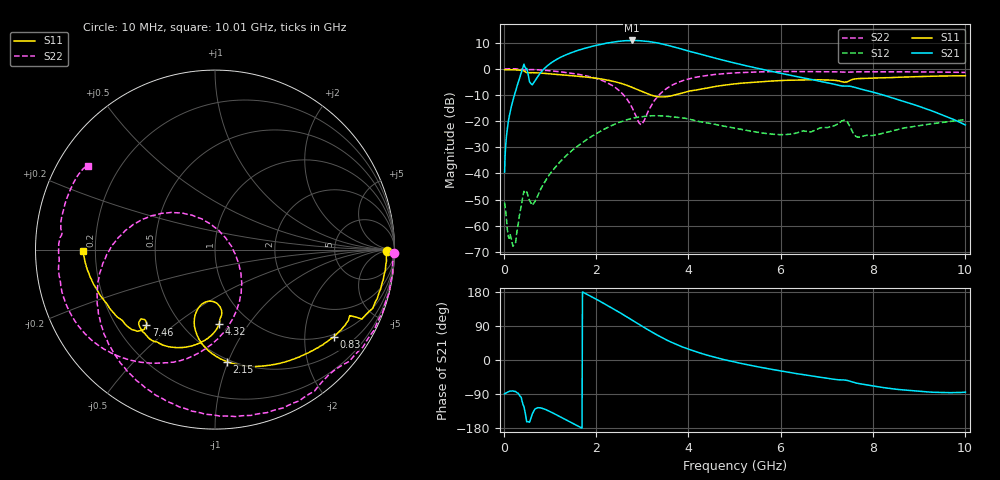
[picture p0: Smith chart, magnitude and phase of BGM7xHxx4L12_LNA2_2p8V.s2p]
! (c) 2014 Infineon Technologies AG
! BGM7xHxx4L12 - Silicon Germanium Quad-Band LTE LNA bank
! 20 May 2014
! Special Application Board
! C1 = L1 = 0 Ohm
! C2 = 100 nF
! Vcc = 2.8V
! RF input and output lines de-embedded
! Port 1 reference plane: LNA input AI (pin 9)
! Port 2 reference plane: LNA output AO (pin 6)
! Network Data:
! Measured BGM7xHxx4L12 device level s-parameters
# GHz S MA R 50
!Freq  MagS11  AngS11  MagS21  AngS21  MagS12  AngS12  MagS22  AngS22
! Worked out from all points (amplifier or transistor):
!   1001 points, 10 MHz to 10.01 GHz, reference 50 ohm
!   highest |S21| = 10.8 dB at 2.77 GHz (marker M1)
!   |S21| within 3 dB of that: 1.749 GHz to 3.796 GHz (2.047 GHz wide, 73.8 % of centre)
!   unconditionally stable (mu >= 1): start of sweep to 68.04 MHz; 72.72 MHz to 124.7 MHz; 134.6 MHz to end of sweep
!   at 1.67 GHz: K = 1.78, MAG = 12.9 dB, |S12| = -28.6 dB
!   at 5.01 GHz: K = 1.41, MAG = 8.6 dB, |S12| = -22.7 dB
!   at 10.01 GHz: K = 6.58, MAG = -12.2 dB, |S12| = -19.4 dB
!   lowest NFmin = 0.74 dB at 2.6 GHz
!   S11 on the Smith chart (normalised r, x): 10 MHz: 44, -7; 830 MHz: 0.94, -2.77; 2.15 GHz: 0.48, -0.99; 4.32 GHz: 0.73, -0.74; 7.46 GHz: 0.32, -0.40; 10.01 GHz: 0.15, -0.00
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0.01  0.9569 -0.4  0.01058 -89.2  0.002764 109.3  0.9947 -1.0
0.21  0.9496 -11.1  0.2871 -82.5  0.000424 -176.9  0.9924 -22.6
0.39  0.9246 -22.0  0.9359 -109.3  0.003012 179.9  0.961 -41.6
0.47  0.8585 -25.8  1.01 -148.5  0.004161 142.7  0.9431 -47.8
0.54  0.8367 -26.1  0.6349 -163.8  0.00327 121.4  0.9588 -53.9
0.65  0.8386 -29.4  0.5517 -133.3  0.002744 149.4  0.9588 -64.8
0.83  0.8196 -36.3  0.9217 -127.7  0.005768 171.4  0.9373 -81.3
1.24  0.763 -50.9  1.676 -151.4  0.01763 163.4  0.8673 -114.3
1.68  0.7068 -66.3  2.352 -179.2  0.03791 147.2  0.7618 -146.2
2.15  0.6271 -83.9  2.984 150.3  0.06839 126.3  0.5827 179.3
2.45  0.5506 -95.4  3.303 129.4  0.09073 110.7  0.4124 153.9
2.77  0.4437 -105.0  3.465 105.7  0.1123 92.0  0.1868 113.4
2.98  0.3705 -106.8  3.403 90.0  0.121 79.6  0.08571 29.6
3.35  0.2903 -97.6  3.071 64.0  0.1261 59.4  0.3077 -63.2
3.75  0.322 -84.8  2.515 40.4  0.1177 41.9  0.5351 -93.1
4.32  0.4158 -86.8  1.837 15.8  0.09503 26.2  0.725 -119.2
5.01  0.5131 -97.2  1.278 -5.7  0.07292 20.0  0.8317 -138.5
6.68  0.6162 -125.1  0.617 -42.5  0.06312 45.7  0.88 -171.9
7.46  0.5695 -132.3  0.4648 -54.4  0.09252 13.1  0.8579 173.7
7.67  0.6463 -137.6  0.4253 -61.6  0.04945 22.6  0.872 170.0
8.35  0.6744 -153.5  0.2907 -74.9  0.06232 53.4  0.8724 158.4
10.01  0.7332 -179.6  0.08412 -84.9  0.1071 54.5  0.8484 146.8
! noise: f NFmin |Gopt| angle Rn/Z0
2.3  0.7842  0.4607  83.92  0.1525
2.4  0.7603  0.38  80.17  0.1437
2.5  0.7816  0.5012  72.97  0.1651
2.6  0.7432  0.3943  70.5  0.1624
2.68  0.7916  0.461  72.26  0.1591
